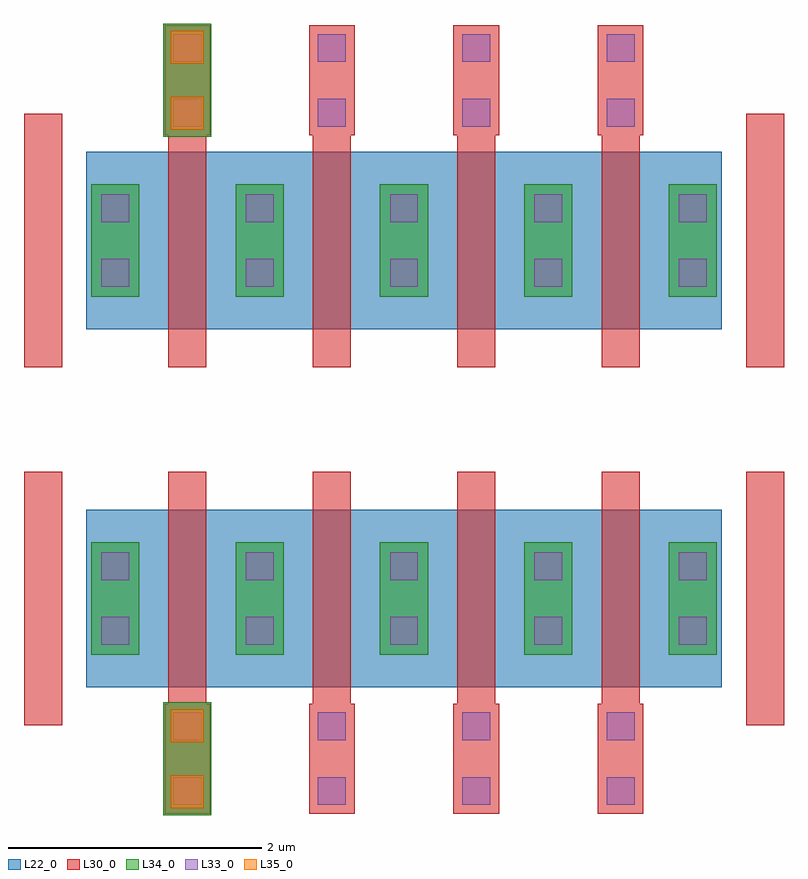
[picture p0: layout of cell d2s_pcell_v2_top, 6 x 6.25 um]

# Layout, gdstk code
import gdstk
lib = gdstk.Library(unit=1e-6, precision=5e-09)
def R(c, l, rs):  # rectangles x0, y0, x1, y1
    for r in rs: c.add(gdstk.rectangle(r[:2], r[2:], *l))
def A(c, l, x, y, w, h, nx, ny, dx, dy):  # array of equal rectangles
    R(c, l, [(x+i*dx, y+j*dy, x+i*dx+w, y+j*dy+h) for i in range(nx) for j in range(ny)])
L22_0 = (22, 0)
L30_0 = (30, 0)
L33_0 = (33, 0)
L34_0 = (34, 0)
L35_0 = (35, 0)

d2s_pcell_1_2 = lib.new_cell('d2s_pcell_1$2')
R(d2s_pcell_1_2, L22_0, [(0,0.3,0.46,1.7), (0.46,0.3,1.14,1.7), (1.14,0.3,1.6,1.7)])
R(d2s_pcell_1_2, L30_0, [(0.65,0,0.95,2)])
R(d2s_pcell_1_2, L33_0, [(0.12,0.635,0.34,0.855), (1.26,0.635,1.48,0.855), (0.12,1.145,0.34,1.365), (1.26,1.145,1.48,1.365)])
R(d2s_pcell_1_2, L34_0, [(0.04,0.555,0.42,1.445), (1.18,0.555,1.56,1.445)])

d2s_pcell_v2_4 = lib.new_cell('d2s_pcell_v2_4')
A(d2s_pcell_v2_4, L30_0, 1.11, 1.83, 0.36, 0.87, 4, 1, 1.14, 0)
R(d2s_pcell_v2_4, L30_0, [(0,0,0.3,2), (5.7,0,6,2)])
A(d2s_pcell_v2_4, L33_0, 1.18, 1.9, 0.22, 0.22, 4, 2, 1.14, 0.51)
R(d2s_pcell_v2_4, L34_0, [(1.1,1.82,1.48,2.71)])
R(d2s_pcell_v2_4, L35_0, [(1.16,1.875,1.42,2.135), (1.16,2.395,1.42,2.655)])
d2s_pcell_v2_4.add(gdstk.Reference(d2s_pcell_1_2, (1.63,0)))
d2s_pcell_v2_4.add(gdstk.Reference(d2s_pcell_1_2, (0.49,0)))
d2s_pcell_v2_4.add(gdstk.Reference(d2s_pcell_1_2, (3.91,0)))
d2s_pcell_v2_4.add(gdstk.Reference(d2s_pcell_1_2, (2.77,0)))

d2s_pcell_v2_top = lib.new_cell('d2s_pcell_v2_top')
d2s_pcell_v2_top.add(gdstk.Reference(d2s_pcell_v2_4, (1.6,4.26)))
d2s_pcell_v2_top.add(gdstk.Reference(d2s_pcell_v2_4, (1.6,3.435), x_reflection=True))

lib.write_gds('d2s_pcell_v2_top.gds')
